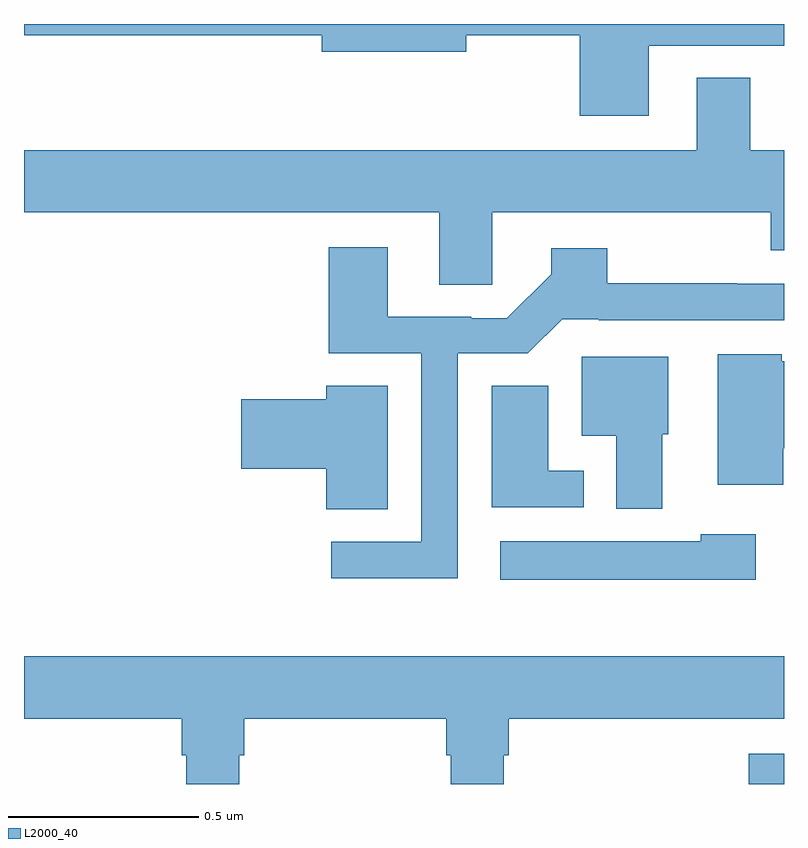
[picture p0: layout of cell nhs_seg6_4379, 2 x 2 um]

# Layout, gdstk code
import gdstk
lib = gdstk.Library(unit=1e-6, precision=1e-09)
def R(c, l, rs):  # rectangles x0, y0, x1, y1
    for r in rs: c.add(gdstk.rectangle(r[:2], r[2:], *l))
def P(c, l, *ps):  # polygons
    for p in ps: c.add(gdstk.Polygon(p, *l))
L2000_40 = (2000, 40)

nhs_seg6_4379 = lib.new_cell('nhs_seg6_4379')
R(nhs_seg6_4379, L2000_40, [(170.907,944.5,171,944.58)])
P(nhs_seg6_4379, L2000_40, [(170.644,946.443),(171,946.443),(171,946.5),(169,946.5),(169,946.47),(169.784,946.47),(169.784,946.427),(170.164,946.427),(170.164,946.47),(170.462,946.47),(170.462,946.259),(170.644,946.259)],
  [(170.232,946.004),(170.965,946.004),(170.965,945.905),(171,945.905),(171,946.168),(170.911,946.168),(170.911,946.358),(170.771,946.358),(170.771,946.168),(169,946.168),(169,946.004),(170.093,946.004),(170.093,945.814),(170.232,945.814)],
  [(170.142,945.633),(170.326,945.633),(170.416,945.723),(170.512,945.723),(170.512,945.72),(171,945.72),(171,945.816),(170.876,945.816),(170.876,945.818),(170.535,945.818),(170.535,945.91),(170.387,945.91),(170.387,945.842),(170.271,945.726),(170.177,945.726),(170.177,945.729),(169.957,945.729),(169.957,945.913),(169.802,945.913),(169.802,945.633),(170.046,945.633),(170.046,945.138),(169.809,945.138),(169.809,945.041),(170.142,945.041)],
  [(170.998,945.383),(171,945.383),(171,945.613),(170.994,945.613),(170.994,945.631),(170.825,945.631),(170.825,945.287),(170.998,945.287)],
  [(170.68,945.42),(170.695,945.42),(170.695,945.625),(170.468,945.625),(170.468,945.416),(170.558,945.416),(170.558,945.224),(170.68,945.224)],
  [(169.957,945.548),(169.796,945.548),(169.796,945.512),(169.572,945.512),(169.572,945.329),(169.796,945.329),(169.796,945.223),(169.957,945.223)],
  [(170.473,945.324),(170.38,945.324),(170.38,945.548),(170.231,945.548),(170.231,945.228),(170.473,945.228)],
  [(170.926,945.157),(170.781,945.157),(170.781,945.139),(170.253,945.139),(170.253,945.038),(170.926,945.038)],
  [(169,944.672),(169.415,944.672),(169.415,944.576),(169.427,944.576),(169.427,944.5),(169.567,944.5),(169.567,944.576),(169.58,944.576),(169.58,944.672),(170.111,944.672),(170.111,944.576),(170.123,944.576),(170.123,944.5),(170.263,944.5),(170.263,944.576),(170.276,944.576),(170.276,944.672),(171,944.672),(171,944.836),(169,944.836)])

lib.write_gds('nhs_seg6_4379.gds')
